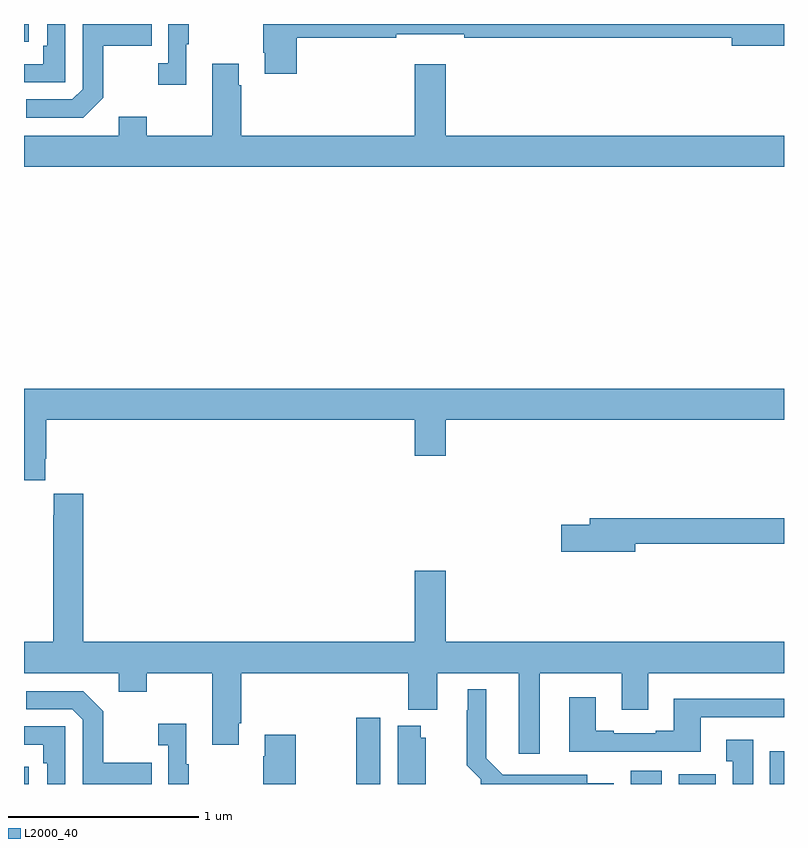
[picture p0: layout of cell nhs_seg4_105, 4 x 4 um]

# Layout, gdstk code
import gdstk
lib = gdstk.Library(unit=1e-6, precision=1e-09)
def R(c, l, rs):  # rectangles x0, y0, x1, y1
    for r in rs: c.add(gdstk.rectangle(r[:2], r[2:], *l))
def P(c, l, *ps):  # polygons
    for p in ps: c.add(gdstk.Polygon(p, *l))
L2000_40 = (2000, 40)

nhs_seg4_105 = lib.new_cell('nhs_seg4_105')
R(nhs_seg4_105, L2000_40, [(115,798.9,115.024,798.99), (116.749,798.9,116.875,799.249), (118.193,798.9,118.357,798.97), (118.445,798.9,118.642,798.952), (118.925,798.9,119,799.072), (115,802.806,115.024,802.9)])
P(nhs_seg4_105, L2000_40, [(116.435,802.828),(116.96,802.828),(116.96,802.847),(117.316,802.847),(117.316,802.828),(118.724,802.828),(118.724,802.786),(119,802.786),(119,802.9),(116.26,802.9),(116.26,802.75),(116.267,802.75),(116.267,802.638),(116.435,802.638)],
  [(115.218,802.9),(115.122,802.9),(115.122,802.786),(115.102,802.786),(115.102,802.689),(115,802.689),(115,802.593),(115.218,802.593)],
  [(115.855,802.793),(115.867,802.793),(115.867,802.9),(115.758,802.9),(115.758,802.694),(115.707,802.694),(115.707,802.581),(115.855,802.581)],
  [(115.417,802.513),(115.417,802.786),(115.673,802.786),(115.673,802.9),(115.308,802.9),(115.308,802.557),(115.254,802.503),(115.011,802.503),(115.011,802.407),(115.311,802.407)],
  [(119,802.312),(117.22,802.312),(117.22,802.687),(117.056,802.687),(117.056,802.312),(116.144,802.312),(116.144,802.577),(116.131,802.577),(116.131,802.69),(115.991,802.69),(115.991,802.312),(115.647,802.312),(115.647,802.411),(115.499,802.411),(115.499,802.312),(115,802.312),(115,802.148),(119,802.148)],
  [(115.111,800.611),(115.118,800.611),(115.118,800.816),(117.056,800.816),(117.056,800.628),(117.22,800.628),(117.22,800.816),(119,800.816),(119,800.98),(115,800.98),(115,800.499),(115.111,800.499)],
  [(117.715,799.484),(118.145,799.484),(118.145,799.29),(118.285,799.29),(118.285,799.484),(119,799.484),(119,799.648),(117.22,799.648),(117.22,800.023),(117.056,800.023),(117.056,799.648),(115.313,799.648),(115.313,800.428),(115.157,800.428),(115.157,800.315),(115.153,800.315),(115.153,799.648),(115,799.648),(115,799.484),(115.499,799.484),(115.499,799.385),(115.647,799.385),(115.647,799.484),(115.991,799.484),(115.991,799.107),(116.131,799.107),(116.131,799.219),(116.144,799.219),(116.144,799.484),(117.023,799.484),(117.023,799.292),(117.175,799.292),(117.175,799.484),(117.605,799.484),(117.605,799.059),(117.715,799.059)],
  [(118.216,800.164),(119,800.164),(119,800.3),(117.977,800.3),(117.977,800.264),(117.828,800.264),(117.828,800.122),(118.216,800.122)],
  [(118.105,798.904),(117.964,798.904),(117.964,798.949),(117.519,798.949),(117.433,799.036),(117.433,799.399),(117.335,799.399),(117.335,799.289),(117.331,799.289),(117.331,798.998),(117.405,798.924),(117.405,798.9),(118.105,798.9)],
  [(115.673,799.011),(115.417,799.011),(115.417,799.283),(115.311,799.389),(115.011,799.389),(115.011,799.293),(115.254,799.293),(115.308,799.239),(115.308,798.9),(115.673,798.9)],
  [(118.561,799.251),(119,799.251),(119,799.348),(118.421,799.348),(118.421,799.18),(118.325,799.18),(118.325,799.167),(118.105,799.167),(118.105,799.18),(118.009,799.18),(118.009,799.357),(117.869,799.357),(117.869,799.071),(118.561,799.071)],
  [(115.867,799.003),(115.855,799.003),(115.855,799.216),(115.707,799.216),(115.707,799.103),(115.758,799.103),(115.758,798.9),(115.867,798.9)],
  [(117.115,799.143),(117.088,799.143),(117.088,799.207),(116.966,799.207),(116.966,798.9),(117.115,798.9)],
  [(115.218,799.203),(115,799.203),(115,799.107),(115.102,799.107),(115.102,799.01),(115.122,799.01),(115.122,798.9),(115.218,798.9)],
  [(116.43,799.159),(116.267,799.159),(116.267,799.046),(116.26,799.046),(116.26,798.9),(116.43,798.9)],
  [(118.837,799.132),(118.697,799.132),(118.697,799.019),(118.73,799.019),(118.73,798.9),(118.837,798.9)])

lib.write_gds('nhs_seg4_105.gds')
